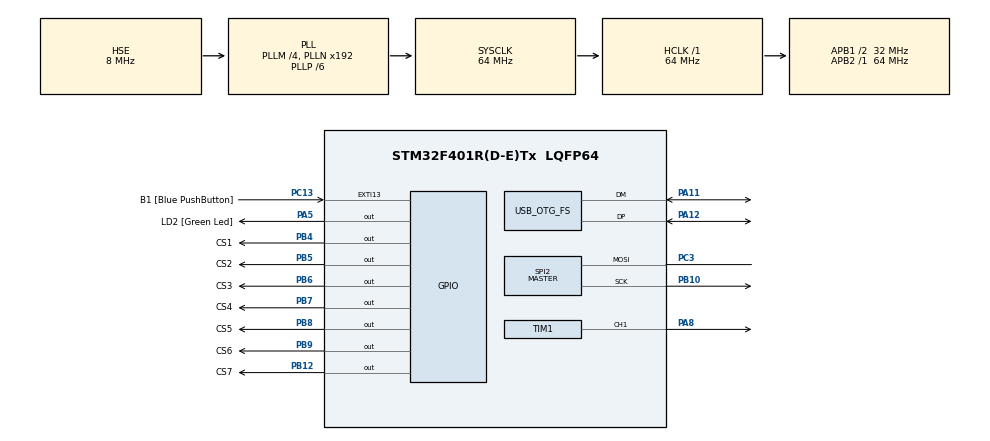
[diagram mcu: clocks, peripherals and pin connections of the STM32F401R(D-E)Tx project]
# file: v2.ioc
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FREERTOS.Tasks01=defaultTask,0,128,StartDefaultTask,Default,NULL,Dynamic,NULL,NULL;commTask,0,256,StartCommTask,Default,NULL,Dynamic,NULL,NULL;sensorTask,0,128,StartSensorTask,Default,NULL,Dynamic,NULL,NULL
Mcu.Family=STM32F4
Mcu.Name=STM32F401R(D-E)Tx
Mcu.Package=LQFP64
NVIC.OTG_FS_IRQn=true\:5\:0\:false\:false\:true\:true\:false\:true\:true
NVIC.PriorityGroup=NVIC_PRIORITYGROUP_4
NVIC.TIM4_IRQn=true\:15\:0\:false\:false\:true\:false\:false\:true\:true
NVIC.TimeBase=TIM4_IRQn
NVIC.TimeBaseIP=TIM4
PA11.Mode=Device_Only
PA11.Signal=USB_OTG_FS_DM
PA12.Mode=Device_Only
PA12.Signal=USB_OTG_FS_DP
PA13.GPIO_Label=TMS
PA13.Mode=Serial_Wire
PA13.Signal=SYS_JTMS-SWDIO
PA14.GPIO_Label=TCK
PA14.Mode=Serial_Wire
PA14.Signal=SYS_JTCK-SWCLK
PA2.GPIO_Label=USART_TX
PA2.GPIO_Mode=GPIO_MODE_AF_PP
PA2.GPIO_PuPd=GPIO_NOPULL
PA2.GPIO_Speed=GPIO_SPEED_FREQ_LOW
PA2.Signal=USART2_TX
PA3.GPIO_Label=USART_RX
PA3.GPIO_Mode=GPIO_MODE_AF_PP
PA3.GPIO_PuPd=GPIO_NOPULL
PA3.GPIO_Speed=GPIO_SPEED_FREQ_LOW
PA3.Signal=USART2_RX
PA5.GPIO_Label=LD2 [Green Led]
PA5.GPIO_Mode=GPIO_MODE_OUTPUT_PP
PA5.GPIO_PuPd=GPIO_NOPULL
PA5.GPIO_Speed=GPIO_SPEED_FREQ_LOW
PA5.Signal=GPIO_Output
PA8.Signal=S_TIM1_CH1
PB10.Mode=Simplex_Bidirectional_Master
PB10.Signal=SPI2_SCK
PB12.GPIO_Label=CS7
PB12.Signal=GPIO_Output
PB3.GPIO_Label=SWO
PB3.Signal=SYS_JTDO-SWO
PB4.GPIO_Label=CS1
PB4.Signal=GPIO_Output
PB5.GPIO_Label=CS2
PB5.Signal=GPIO_Output
PB6.GPIO_Label=CS3
PB6.Signal=GPIO_Output
PB7.GPIO_Label=CS4
PB7.Signal=GPIO_Output
PB8.GPIO_Label=CS5
PB8.Signal=GPIO_Output
PB9.GPIO_Label=CS6
PB9.Signal=GPIO_Output
PC13-ANTI_TAMP.GPIO_Label=B1 [Blue PushButton]
PC13-ANTI_TAMP.GPIO_ModeDefaultEXTI=GPIO_MODE_IT_FALLING
PC13-ANTI_TAMP.GPIO_PuPd=GPIO_NOPULL
PC13-ANTI_TAMP.Signal=GPXTI13
PC14-OSC32_IN.Signal=RCC_OSC32_IN
PC15-OSC32_OUT.Signal=RCC_OSC32_OUT
PC3.Mode=Simplex_Bidirectional_Master
PC3.Signal=SPI2_MOSI
PH0\ -\ OSC_IN.Mode=HSE-External-Oscillator
PH0\ -\ OSC_IN.Signal=RCC_OSC_IN
PH1\ -\ OSC_OUT.Mode=HSE-External-Oscillator
PH1\ -\ OSC_OUT.Signal=RCC_OSC_OUT
ProjectManager.HeapSize=0x200
ProjectManager.StackSize=0x400
ProjectManager.TargetToolchain=STM32CubeIDE
RCC.48MHZClocksFreq_Value=48000000
RCC.AHBFreq_Value=64000000
RCC.APB1CLKDivider=RCC_HCLK_DIV2
RCC.APB1Freq_Value=32000000
RCC.APB1TimFreq_Value=64000000
RCC.APB2Freq_Value=64000000
RCC.APB2TimFreq_Value=64000000
RCC.CortexFreq_Value=64000000
RCC.HCLKFreq_Value=64000000
RCC.HSE_VALUE=8000000
RCC.HSI_VALUE=16000000
RCC.LSE_VALUE=32768
RCC.PLLM=4
RCC.PLLP=RCC_PLLP_DIV6
RCC.PLLQ=8
RCC.SYSCLKFreq_VALUE=64000000
RCC.SYSCLKSource=RCC_SYSCLKSOURCE_PLLCLK
RCC.VCOOutputFreq_Value=384000000
SH.S_TIM1_CH1.0=TIM1_CH1,PWM Generation1 CH1
SPI2.BaudRatePrescaler=SPI_BAUDRATEPRESCALER_8
SPI2.CLKPhase=SPI_PHASE_2EDGE
SPI2.DataSize=SPI_DATASIZE_16BIT
SPI2.Direction=SPI_DIRECTION_1LINE
SPI2.Mode=SPI_MODE_MASTER
SPI2.VirtualType=VM_MASTER
TIM1.Channel-PWM\ Generation1\ CH1=TIM_CHANNEL_1
USB_DEVICE.APP_RX_DATA_SIZE-CDC_FS=128
USB_DEVICE.APP_TX_DATA_SIZE-CDC_FS=256
USB_DEVICE.CLASS_NAME_FS=CDC
USB_DEVICE.USBD_DEBUG_LEVEL-CDC_FS=3
USB_DEVICE.USBD_SELF_POWERED-CDC_FS=0
USB_DEVICE.VirtualMode-CDC_FS=Cdc
USB_DEVICE.VirtualModeFS=Cdc_FS
USB_OTG_FS.VirtualMode=Device_Only
VP_FREERTOS_VS_CMSIS_V1.Mode=CMSIS_V1
VP_SYS_VS_tim4.Mode=TIM4
VP_USB_DEVICE_VS_USB_DEVICE_CDC_FS.Mode=CDC_FS
board=NUCLEO-F401RE

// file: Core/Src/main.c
/* USER CODE BEGIN Header */
/**
  ******************************************************************************
  * @file           : main.c
  * @brief          : Main program body
  ******************************************************************************
  * @attention
  *
  * Copyright (c) 2023 STMicroelectronics.
  * All rights reserved.
  *
  * This software is licensed under terms that can be found in the LICENSE file
  * in the root directory of this software component.
  * If no LICENSE file comes with this software, it is provided AS-IS.
  *
  ******************************************************************************
  */
/* USER CODE END Header */
#include "main.h"
#include "cmsis_os.h"
#include "usb_device.h"

/* USER CODE BEGIN Includes */
#include "DTek_TLE5012B.h"
/* USER CODE END Includes */

SPI_HandleTypeDef hspi2;

TIM_HandleTypeDef htim1;

osThreadId defaultTaskHandle;
osThreadId commTaskHandle;
osThreadId sensorTaskHandle;
/* USER CODE BEGIN PV */

// Sensor communication
errorTypes checkError = NO_ERROR;
errorTypes checkError2 = NO_ERROR;
errorTypes checkError3 = NO_ERROR;
errorTypes checkError4 = NO_ERROR;
errorTypes checkError5 = NO_ERROR;
errorTypes checkError6 = NO_ERROR;
errorTypes checkError7 = NO_ERROR;

uint16_t errorCounter = 0;

// Joint angles
static double angle1_raw = 0.0;
static double angle2_raw = 0.0;
static double angle3_raw = 0.0;
static double angle4_raw = 0.0;
static double angle5_raw = 0.0;
static double angle6_raw = 0.0;
static double angle7_raw = 0.0;

static double angle1_temp = 0.0;
static double angle2_temp = 0.0;
static double angle3_temp = 0.0;
static double angle4_temp = 0.0;
static double angle5_temp = 0.0;
static double angle6_temp = 0.0;
static double angle7_temp = 0.0;

static double angle1 = 0.0;
static double angle2 = 0.0;
static double angle3 = 0.0;
static double angle4 = 0.0;
static double angle5 = 0.0;
static double angle6 = 0.0;
static double angle7 = 0.0;

static double offset1 = -104.25;//0.0;
static double offset2 = 32.37;//0.0;
static double offset3 = 177.52;//0.0;
static double offset4 = -138.13;//0.0;
static double offset5 = -176.17;//0.0;
static double offset6 = 95.75;//0.0;
static double offset7 = 0.0;

// USB CDC communication
char txBuf[256];
char rxBuf[128];
uint8_t receiveState = 1;
static volatile uint32_t timeStamp = 0;
static volatile uint32_t timeOutGuard = 0;
static volatile uint32_t timeOutGuardMax = 0;
/* USER CODE END PV */

void SystemClock_Config(void);
static void MX_GPIO_Init(void);
static void MX_SPI2_Init(void);
static void MX_TIM1_Init(void);
void StartDefaultTask(void const * argument);
void StartCommTask(void const * argument);
void StartSensorTask(void const * argument);

/* USER CODE BEGIN 0 */
extern uint8_t CDC_Transmit_FS(uint8_t* Buf, uint16_t Len);
/* USER CODE END 0 */

int main(void)
{

  /* MCU Configuration--------------------------------------------------------*/

  /* Reset of all peripherals, Initializes the Flash interface and the Systick. */
  HAL_Init();

  /* Configure the system clock */
  SystemClock_Config();

  /* Initialize all configured peripherals */
  MX_GPIO_Init();
  MX_SPI2_Init();
  MX_TIM1_Init();
  /* USER CODE BEGIN 2 */
  HAL_TIM_PWM_Start(&htim1, TIM_CHANNEL_1);
  TIM1->CCR1 = 0*3600/100;
  /* USER CODE END 2 */

  /* Create the thread(s) */
  /* definition and creation of defaultTask */
  osThreadDef(defaultTask, StartDefaultTask, osPriorityNormal, 0, 128);
  defaultTaskHandle = osThreadCreate(osThread(defaultTask), NULL);

  /* definition and creation of commTask */
  osThreadDef(commTask, StartCommTask, osPriorityNormal, 0, 256);
  commTaskHandle = osThreadCreate(osThread(commTask), NULL);

  /* definition and creation of sensorTask */
  osThreadDef(sensorTask, StartSensorTask, osPriorityNormal, 0, 128);
  sensorTaskHandle = osThreadCreate(osThread(sensorTask), NULL);

  /* Start scheduler */
  osKernelStart();

  /* We should never get here as control is now taken by the scheduler */
  /* Infinite loop */
  while (1)
  {

  }
}

void SystemClock_Config(void)
{
  RCC_OscInitTypeDef RCC_OscInitStruct = {0};
  RCC_ClkInitTypeDef RCC_ClkInitStruct = {0};

  /** Configure the main internal regulator output voltage
  */
  __HAL_RCC_PWR_CLK_ENABLE();
  __HAL_PWR_VOLTAGESCALING_CONFIG(PWR_REGULATOR_VOLTAGE_SCALE2);

  /** Initializes the RCC Oscillators according to the specified parameters
  * in the RCC_OscInitTypeDef structure.
  */
  RCC_OscInitStruct.OscillatorType = RCC_OSCILLATORTYPE_HSE;
  RCC_OscInitStruct.HSEState = RCC_HSE_ON;
  RCC_OscInitStruct.PLL.PLLState = RCC_PLL_ON;
  RCC_OscInitStruct.PLL.PLLSource = RCC_PLLSOURCE_HSE;
  RCC_OscInitStruct.PLL.PLLM = 4;
  RCC_OscInitStruct.PLL.PLLN = 192;
  RCC_OscInitStruct.PLL.PLLP = RCC_PLLP_DIV6;
  RCC_OscInitStruct.PLL.PLLQ = 8;
  if (HAL_RCC_OscConfig(&RCC_OscInitStruct) != HAL_OK)
  {
    Error_Handler();
  }

  /** Initializes the CPU, AHB and APB buses clocks
  */
  RCC_ClkInitStruct.ClockType = RCC_CLOCKTYPE_HCLK|RCC_CLOCKTYPE_SYSCLK
                              |RCC_CLOCKTYPE_PCLK1|RCC_CLOCKTYPE_PCLK2;
  RCC_ClkInitStruct.SYSCLKSource = RCC_SYSCLKSOURCE_PLLCLK;
  RCC_ClkInitStruct.AHBCLKDivider = RCC_SYSCLK_DIV1;
  RCC_ClkInitStruct.APB1CLKDivider = RCC_HCLK_DIV2;
  RCC_ClkInitStruct.APB2CLKDivider = RCC_HCLK_DIV1;

  if (HAL_RCC_ClockConfig(&RCC_ClkInitStruct, FLASH_LATENCY_2) != HAL_OK)
  {
    Error_Handler();
  }
}

static void MX_SPI2_Init(void)
{

  /* SPI2 parameter configuration*/
  hspi2.Instance = SPI2;
  hspi2.Init.Mode = SPI_MODE_MASTER;
  hspi2.Init.Direction = SPI_DIRECTION_1LINE;
  hspi2.Init.DataSize = SPI_DATASIZE_16BIT;
  hspi2.Init.CLKPolarity = SPI_POLARITY_LOW;
  hspi2.Init.CLKPhase = SPI_PHASE_2EDGE;
  hspi2.Init.NSS = SPI_NSS_SOFT;
  hspi2.Init.BaudRatePrescaler = SPI_BAUDRATEPRESCALER_8;
  hspi2.Init.FirstBit = SPI_FIRSTBIT_MSB;
  hspi2.Init.TIMode = SPI_TIMODE_DISABLE;
  hspi2.Init.CRCCalculation = SPI_CRCCALCULATION_DISABLE;
  hspi2.Init.CRCPolynomial = 10;
  if (HAL_SPI_Init(&hspi2) != HAL_OK)
  {
    Error_Handler();
  }

}

static void MX_TIM1_Init(void)
{

  TIM_MasterConfigTypeDef sMasterConfig = {0};
  TIM_OC_InitTypeDef sConfigOC = {0};
  TIM_BreakDeadTimeConfigTypeDef sBreakDeadTimeConfig = {0};

  htim1.Instance = TIM1;
  htim1.Init.Prescaler = 0;
  htim1.Init.CounterMode = TIM_COUNTERMODE_UP;
  htim1.Init.Period = 65535;
  htim1.Init.ClockDivision = TIM_CLOCKDIVISION_DIV1;
  htim1.Init.RepetitionCounter = 0;
  htim1.Init.AutoReloadPreload = TIM_AUTORELOAD_PRELOAD_DISABLE;
  if (HAL_TIM_PWM_Init(&htim1) != HAL_OK)
  {
    Error_Handler();
  }
  sMasterConfig.MasterOutputTrigger = TIM_TRGO_RESET;
  sMasterConfig.MasterSlaveMode = TIM_MASTERSLAVEMODE_DISABLE;
  if (HAL_TIMEx_MasterConfigSynchronization(&htim1, &sMasterConfig) != HAL_OK)
  {
    Error_Handler();
  }
  sConfigOC.OCMode = TIM_OCMODE_PWM1;
  sConfigOC.Pulse = 0;
  sConfigOC.OCPolarity = TIM_OCPOLARITY_HIGH;
  sConfigOC.OCNPolarity = TIM_OCNPOLARITY_HIGH;
  sConfigOC.OCFastMode = TIM_OCFAST_DISABLE;
  sConfigOC.OCIdleState = TIM_OCIDLESTATE_RESET;
  sConfigOC.OCNIdleState = TIM_OCNIDLESTATE_RESET;
  if (HAL_TIM_PWM_ConfigChannel(&htim1, &sConfigOC, TIM_CHANNEL_1) != HAL_OK)
  {
    Error_Handler();
  }
  sBreakDeadTimeConfig.OffStateRunMode = TIM_OSSR_DISABLE;
  sBreakDeadTimeConfig.OffStateIDLEMode = TIM_OSSI_DISABLE;
  sBreakDeadTimeConfig.LockLevel = TIM_LOCKLEVEL_OFF;
  sBreakDeadTimeConfig.DeadTime = 0;
  sBreakDeadTimeConfig.BreakState = TIM_BREAK_DISABLE;
  sBreakDeadTimeConfig.BreakPolarity = TIM_BREAKPOLARITY_HIGH;
  sBreakDeadTimeConfig.AutomaticOutput = TIM_AUTOMATICOUTPUT_DISABLE;
  if (HAL_TIMEx_ConfigBreakDeadTime(&htim1, &sBreakDeadTimeConfig) != HAL_OK)
  {
    Error_Handler();
  }
  HAL_TIM_MspPostInit(&htim1);

}

static void MX_GPIO_Init(void)
{
  GPIO_InitTypeDef GPIO_InitStruct = {0};

  /* GPIO Ports Clock Enable */
  __HAL_RCC_GPIOC_CLK_ENABLE();
  __HAL_RCC_GPIOH_CLK_ENABLE();
  __HAL_RCC_GPIOA_CLK_ENABLE();
  __HAL_RCC_GPIOB_CLK_ENABLE();

  /*Configure GPIO pin Output Level */
  HAL_GPIO_WritePin(LD2_GPIO_Port, LD2_Pin, GPIO_PIN_RESET);

  /*Configure GPIO pin Output Level */
  HAL_GPIO_WritePin(GPIOB, CS7_Pin|CS1_Pin|CS2_Pin|CS3_Pin
                          |CS4_Pin|CS5_Pin|CS6_Pin, GPIO_PIN_RESET);

  /*Configure GPIO pin : B1_Pin */
  GPIO_InitStruct.Pin = B1_Pin;
  GPIO_InitStruct.Mode = GPIO_MODE_IT_FALLING;
  GPIO_InitStruct.Pull = GPIO_NOPULL;
  HAL_GPIO_Init(B1_GPIO_Port, &GPIO_InitStruct);

  /*Configure GPIO pins : USART_TX_Pin USART_RX_Pin */
  GPIO_InitStruct.Pin = USART_TX_Pin|USART_RX_Pin;
  GPIO_InitStruct.Mode = GPIO_MODE_AF_PP;
  GPIO_InitStruct.Pull = GPIO_NOPULL;
  GPIO_InitStruct.Speed = GPIO_SPEED_FREQ_LOW;
  GPIO_InitStruct.Alternate = GPIO_AF7_USART2;
  HAL_GPIO_Init(GPIOA, &GPIO_InitStruct);

  /*Configure GPIO pin : LD2_Pin */
  GPIO_InitStruct.Pin = LD2_Pin;
  GPIO_InitStruct.Mode = GPIO_MODE_OUTPUT_PP;
  GPIO_InitStruct.Pull = GPIO_NOPULL;
  GPIO_InitStruct.Speed = GPIO_SPEED_FREQ_LOW;
  HAL_GPIO_Init(LD2_GPIO_Port, &GPIO_InitStruct);

  /*Configure GPIO pins : CS7_Pin CS1_Pin CS2_Pin CS3_Pin
                           CS4_Pin CS5_Pin CS6_Pin */
  GPIO_InitStruct.Pin = CS7_Pin|CS1_Pin|CS2_Pin|CS3_Pin
                          |CS4_Pin|CS5_Pin|CS6_Pin;
  GPIO_InitStruct.Mode = GPIO_MODE_OUTPUT_PP;
  GPIO_InitStruct.Pull = GPIO_NOPULL;
  GPIO_InitStruct.Speed = GPIO_SPEED_FREQ_LOW;
  HAL_GPIO_Init(GPIOB, &GPIO_InitStruct);

}

/* USER CODE BEGIN 4 */
uint16_t SizeofCharArray(char *ptr)
{
  /* Local variables */
  uint16_t len = 0;

  /* Search until end char */
  while (ptr[len] != '\0') {
    len++;
  }
  return len;
}
/* USER CODE END 4 */

void StartDefaultTask(void const * argument)
{
  /* init code for USB_DEVICE */
  MX_USB_DEVICE_Init();
  /* USER CODE BEGIN 5 */
  /* Infinite loop */
  for(;;)
  {
    osDelay(200);
    HAL_GPIO_TogglePin(GPIOA, GPIO_PIN_5);

  }
  /* USER CODE END 5 */
}

void StartCommTask(void const * argument)
{
  /* USER CODE BEGIN StartCommTask */
	uint16_t Len = 0;
  /* Infinite loop */
  for(;;)
  {
	  if (receiveState == 1){
		  if ((rxBuf[0] == 'K') && (rxBuf[1] == 'A') && (rxBuf[2] == '\r')){ // KA = Keep alive (response echo)
			  __ASM("NOP");
		  }
		  // Clear error counter
		  else if ((rxBuf[0] == 'C') && (rxBuf[1] == 'E') && (rxBuf[2] == 'C') && (rxBuf[3] == '\r')){
			  errorCounter = 0;
			  sprintf(txBuf, "OK;%s\r\n", rxBuf);
			  Len = SizeofCharArray((char*)txBuf);
			  CDC_Transmit_FS((uint8_t*)txBuf, Len);
		  }
		  // Read error counter
		  else if ((rxBuf[0] == 'R') && (rxBuf[1] == 'E') && (rxBuf[2] == 'C') && (rxBuf[3] == '\r')){
			  sprintf(txBuf, "OK;%s;%d\r\n", rxBuf, errorCounter);
			  Len = SizeofCharArray((char*)txBuf);
			  CDC_Transmit_FS((uint8_t*)txBuf, Len);
		  }
		  else if ((rxBuf[0] == 'R') && (rxBuf[1] == 'D') && (rxBuf[2] == 'S') && (rxBuf[3] == '\r')){
			  sprintf(txBuf, "%s;%s;%d;%d;%d;%d;%d;%d;%d;\r\n", "OK", "RDS\r",(int16_t)(angle1*100), (int16_t)(angle2*100), (int16_t)(angle3*100), (int16_t)(angle4*100),
					  (int16_t)(angle5*100), (int16_t)(angle6*100), (int16_t)(angle7*100));
			  Len = SizeofCharArray((char*)txBuf);
			  CDC_Transmit_FS((uint8_t*)txBuf, Len);
		  }
		  else{
			  sprintf(txBuf, "ERR;%s\r\n", rxBuf);
			  Len = SizeofCharArray((char*)txBuf);
			  CDC_Transmit_FS((uint8_t*)txBuf, Len);
		  }
		  timeStamp = HAL_GetTick();
		  receiveState = 0;
	  }

	  timeOutGuard = HAL_GetTick() - timeStamp;
	  if (timeOutGuard > timeOutGuardMax){
		  timeOutGuardMax = timeOutGuard;
	  }

	  osDelay(10);
  }
  /* USER CODE END StartCommTask */
}

void StartSensorTask(void const * argument)
{
  /* USER CODE BEGIN StartSensorTask */
  SPI_CS_Disable(1);
  SPI_CS_Disable(2);
  SPI_CS_Disable(3);
  SPI_CS_Disable(4);
  SPI_CS_Disable(5);
  SPI_CS_Disable(6);
  SPI_CS_Disable(7);

  checkError = NO_ERROR;
  checkError = readBlockCRC(1);
  if (checkError != NO_ERROR) errorCounter++;
  HAL_Delay(1);

  checkError2 = NO_ERROR;
  checkError2 = readBlockCRC(2);
  if (checkError2 != NO_ERROR) errorCounter++;
  HAL_Delay(1);

  checkError3 = NO_ERROR;
  checkError3 = readBlockCRC(3);
  if (checkError3 != NO_ERROR) errorCounter++;
  HAL_Delay(1);

  checkError4 = NO_ERROR;
  checkError4 = readBlockCRC(4);
  if (checkError4 != NO_ERROR) errorCounter++;
  HAL_Delay(1);

  checkError5 = NO_ERROR;
  checkError5 = readBlockCRC(5);
  if (checkError5 != NO_ERROR) errorCounter++;
  HAL_Delay(1);

  checkError6 = NO_ERROR;
  checkError6 = readBlockCRC(6);
  if (checkError6 != NO_ERROR) errorCounter++;
  HAL_Delay(1);

  checkError7 = NO_ERROR;
  checkError7 = readBlockCRC(7);
  if (checkError7 != NO_ERROR) errorCounter++;
  HAL_Delay(1);

  /* Infinite loop */
  for(;;)
  {
    osDelay(10);

    checkError = NO_ERROR;
    checkError = getAngleValue(&angle1_raw,1);
    if (checkError != NO_ERROR) errorCounter++;
    HAL_Delay(1);

    checkError2 = NO_ERROR;
    checkError2 = getAngleValue(&angle2_raw,2);
    if (checkError2 != NO_ERROR) errorCounter++;
    HAL_Delay(1);

    checkError3 = NO_ERROR;
    checkError3 = getAngleValue(&angle3_raw,3);
    if (checkError3 != NO_ERROR) errorCounter++;
    HAL_Delay(1);

    checkError4 = NO_ERROR;
    checkError4 = getAngleValue(&angle4_raw,4);
    if (checkError4 != NO_ERROR) errorCounter++;

    checkError5 = NO_ERROR;
    checkError5 = getAngleValue(&angle5_raw,5);
    if (checkError5 != NO_ERROR) errorCounter++;
    HAL_Delay(1);

    checkError6 = NO_ERROR;
    checkError6 = getAngleValue(&angle6_raw,6);
    if (checkError6 != NO_ERROR) errorCounter++;

    checkError7 = NO_ERROR;
    checkError7 = getAngleValue(&angle7_raw,7);
    if (checkError7 != NO_ERROR) errorCounter++;

    // processing raw angles

    angle1_temp = angle1_raw - offset1;
    if (angle1_temp >= 0){
    	angle1 = angle1_temp;
    }
    else{
    	angle1 = -1 * (360 - (360 + angle1_temp));
    }

    angle2_temp = -1 * (angle2_raw - offset2);
    if (angle2_temp >= 0){
    	angle2 = angle2_temp;
    }
    else{
    	angle2 = -1 * (360 - (360 + angle2_temp));
    }

// PROBLÉMA

    angle3_temp = -1 * (angle3_raw - offset3);
    if (angle3_temp >= 0){
    	angle3 = angle3_temp;
    }
    else{
    	angle3 = -1 * (360 - (360 + angle3_temp));
    }
// PROBLÉMA

    angle4_temp = -1 * (angle4_raw - offset4);
    if (angle4_temp >= 0){
    	angle4 = angle4_temp;
    }
    else{
    	angle4 = -1 * (360 - (360 + angle4_temp));
    }

    angle5_temp = (angle5_raw - offset5);
	if (angle5_temp >= 0){
		angle5 = angle5_temp;
	}
	else{
		angle5 = (360 - (360 + angle5_temp));
	}

	angle6_temp = -1 * (angle6_raw - offset6);
	if (angle6_temp >= 0){
		angle6 = angle6_temp;
	}
	else{
		angle6 = -1 * (360 - (360 + angle6_temp));
	}

	angle7_temp = (angle7_raw - offset7);
	if (angle7_temp >= 0){
		angle7 = angle7_temp;
	}
	else{
		angle7 = (360 + angle7_temp);
	}

  }
  /* USER CODE END StartSensorTask */
}

void HAL_TIM_PeriodElapsedCallback(TIM_HandleTypeDef *htim)
{
  if (htim->Instance == TIM4) {
    HAL_IncTick();
  }
}

void Error_Handler(void)
{
  __disable_irq();
  while (1)
  {
  }
}
